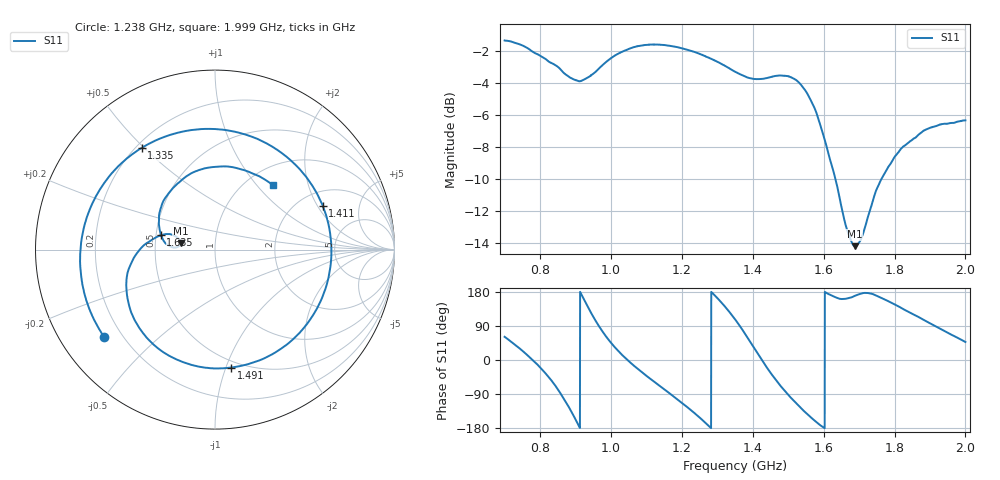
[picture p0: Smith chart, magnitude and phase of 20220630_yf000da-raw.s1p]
!Keysight Technologies,P9371A,MY57212015,A.15.65.19
!Date: Thursday, June 30, 2022 11:18:14
!Correction: S11(C  1-Port  )
!S1P File: Measurement: S11:
# Hz S  dB  R 50
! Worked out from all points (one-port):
!   2601 points, 700 MHz to 2 GHz, reference 50 ohm
!   lowest |S11| = -14.2 dB at 1.688 GHz (marker M1), VSWR 1.48, Z = 33.8 + j2.54 ohm
!   |S11| at or under -10 dB: 1.633 GHz to 1.763 GHz (130.1 MHz wide, 7.66 % of centre)
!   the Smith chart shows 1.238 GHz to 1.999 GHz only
!   S11 on the Smith chart (normalised r, x): 1.238 GHz: 0.13, -0.34; 1.335 GHz: 0.22, +0.49; 1.411 GHz: 2.65, +2.22; 1.491 GHz: 0.44, -1.04; 1.635 GHz: 0.53, +0.09; 1.999 GHz: 1.31, +1.22
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7e8  -1.36 61.2
7.505e8  -1.67 24.1
7.895e8  -2.19 -9.2
8.255e8  -2.69 -46.3
8.625e8  -3.29 -95.2
8.965e8  -3.80 -150.4
9.22e8  -3.83 163.5
9.68e8  -3.07 86.7
1.025e9  -2.13 19.5
1.0655e9  -1.77 -15.6
1.1135e9  -1.61 -51.4
1.1875e9  -1.77 -103.8
1.2375e9  -2.09 -141.6
1.289e9  -2.57 174.1
1.335e9  -3.11 125.8
1.35e9  -3.31 107.6
1.379e9  -3.61 68.3
1.4105e9  -3.77 22.1
1.4445e9  -3.68 -26.2
1.491e9  -3.56 -82.2
1.5125e9  -3.70 -104.5
1.5655e9  -5.17 -152.6
1.6345e9  -10.12 165.2
1.675e9  -13.72 164.2
1.688e9  -14.20 169.3
1.8375e9  -7.77 128.0
1.999e9  -6.35 48.0
2e9  -6.35 47.5
